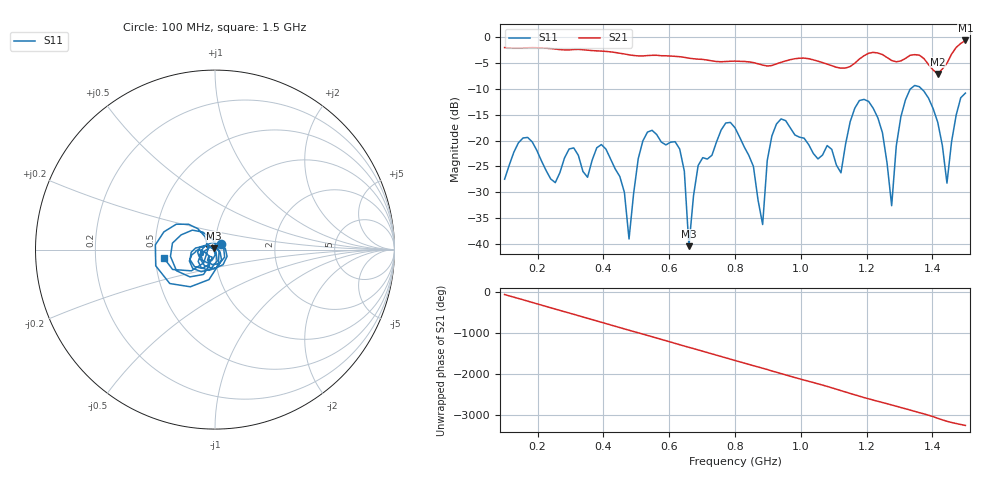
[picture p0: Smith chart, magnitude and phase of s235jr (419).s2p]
! NanoVNA-App
! Date: 2025-09-25 15:07:25
! Start: 100MHz Stop: 1,5GHz Points: 101
! S-Parameter data: F S11 S21 S12 S22
# Hz S RI R 50
!  Frequency  S11_Real  S11_Imag  S21_Real  S21_Imag  S12_Real  S12_Imag  S22_Real  S22_Imag
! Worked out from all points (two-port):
!   101 points, 100 MHz to 1.5 GHz, reference 50 ohm
!   highest |S21| = -0.59 dB at 1.5 GHz (marker M1); lowest = -7.1 dB at 1.416 GHz (marker M2)
!   |S21| within 3 dB of the highest: start of sweep to 598.6 MHz; 1.191 GHz to 1.255 GHz (63.33 MHz wide, 5.18 % of centre) (the widest 2 of 4)
!   lowest |S11| = -40.4 dB at 660 MHz (marker M3), VSWR 1.02, Z = 49.3 + j0.61 ohm
!   |S11| at or under -10 dB: start of sweep to 1.333 GHz; 1.367 GHz to end of sweep
!   S12 and S22 are empty: the file has one direction only
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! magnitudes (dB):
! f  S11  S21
! 100 MHz  -27.5  -2.0
! 170 MHz  -19.4  -2.0
! 338 MHz  -26.0  -2.4
! 408 MHz  -21.7  -2.7
! 478 MHz  -39.1  -3.4
! 520 MHz  -20.1  -3.6
! 576 MHz  -20.3  -3.5
! 632 MHz  -21.6  -3.7
! 660 MHz  -40.4  -4.0
! 688 MHz  -24.8  -4.2
! 800 MHz  -17.5  -4.6
! 884 MHz  -36.3  -5.4
! 926 MHz  -16.8  -5.1
! 1.038 GHz  -22.5  -4.3
! 1.122 GHz  -26.2  -6.0
! 1.206 GHz  -12.4  -3.1
! 1.248 GHz  -18.5  -3.3
! 1.276 GHz  -32.6  -4.5
! 1.332 GHz  -10.0  -3.5
! 1.416 GHz  -16.4  -7.1
! 1.444 GHz  -28.2  -5.0
! 1.5 GHz  -10.8  -0.6
